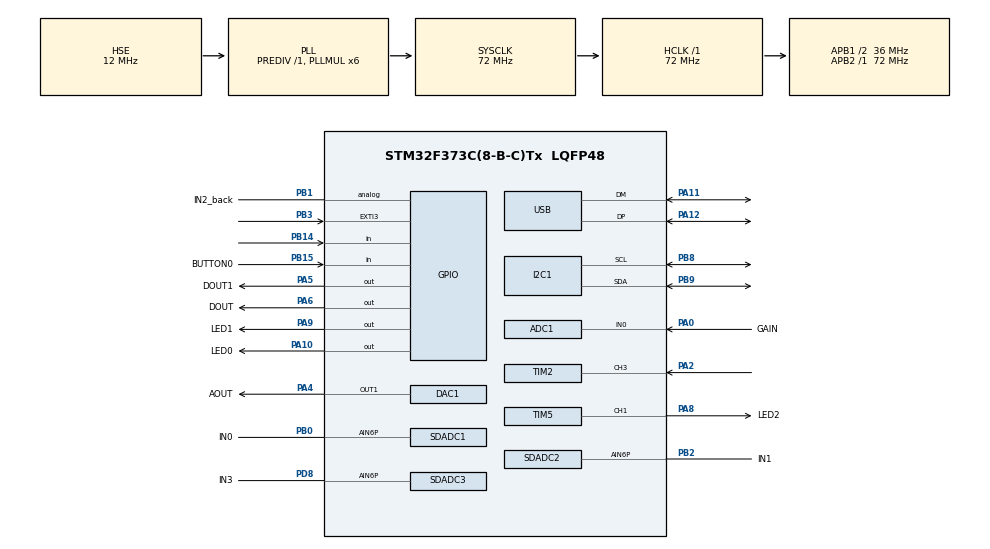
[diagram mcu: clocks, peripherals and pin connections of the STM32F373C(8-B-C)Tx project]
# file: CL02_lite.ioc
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ADC1.Channel-69\#ChannelRegularConversion=ADC_CHANNEL_0
ADC1.ContinuousConvMode=DISABLE
ADC1.DataAlign=ADC_DATAALIGN_RIGHT
ADC1.DiscontinuousConvMode=DISABLE
ADC1.EnableAnalogWatchDog=false
ADC1.EnableRegularConversion=ENABLE
ADC1.ExternalTrigConv=ADC_SOFTWARE_START
ADC1.InjNumberOfConversion=0
ADC1.NbrOfConversion=1
ADC1.NbrOfConversionFlag=1
ADC1.Rank-69\#ChannelRegularConversion=1
ADC1.SamplingTime-69\#ChannelRegularConversion=ADC_SAMPLETIME_1CYCLE_5
ADC1.ScanConvMode=ADC_SCAN_DISABLE
ADC1.master=1
Dma.Request0=SDADC1
Dma.Request1=SDADC2
Dma.Request2=SDADC3
Dma.SDADC1.0.Direction=DMA_PERIPH_TO_MEMORY
Dma.SDADC1.0.Instance=DMA2_Channel3
Dma.SDADC1.0.MemDataAlignment=DMA_MDATAALIGN_HALFWORD
Dma.SDADC1.0.MemInc=DMA_MINC_DISABLE
Dma.SDADC1.0.Mode=DMA_CIRCULAR
Dma.SDADC1.0.PeriphDataAlignment=DMA_PDATAALIGN_HALFWORD
Dma.SDADC1.0.PeriphInc=DMA_PINC_DISABLE
Dma.SDADC1.0.Priority=DMA_PRIORITY_VERY_HIGH
Dma.SDADC2.1.Direction=DMA_PERIPH_TO_MEMORY
Dma.SDADC2.1.Instance=DMA2_Channel4
Dma.SDADC2.1.MemDataAlignment=DMA_MDATAALIGN_HALFWORD
Dma.SDADC2.1.MemInc=DMA_MINC_DISABLE
Dma.SDADC2.1.Mode=DMA_CIRCULAR
Dma.SDADC2.1.PeriphDataAlignment=DMA_PDATAALIGN_HALFWORD
Dma.SDADC2.1.PeriphInc=DMA_PINC_DISABLE
Dma.SDADC2.1.Priority=DMA_PRIORITY_VERY_HIGH
Dma.SDADC3.2.Direction=DMA_PERIPH_TO_MEMORY
Dma.SDADC3.2.Instance=DMA2_Channel5
Dma.SDADC3.2.MemDataAlignment=DMA_MDATAALIGN_HALFWORD
Dma.SDADC3.2.MemInc=DMA_MINC_DISABLE
Dma.SDADC3.2.Mode=DMA_CIRCULAR
Dma.SDADC3.2.PeriphDataAlignment=DMA_PDATAALIGN_HALFWORD
Dma.SDADC3.2.PeriphInc=DMA_PINC_DISABLE
Dma.SDADC3.2.Priority=DMA_PRIORITY_VERY_HIGH
Mcu.Family=STM32F3
Mcu.Name=STM32F373C(8-B-C)Tx
Mcu.Package=LQFP48
NVIC.DMA2_Channel3_IRQn=true\:0\:0\:false\:false\:true\:false\:true\:true
NVIC.DMA2_Channel4_IRQn=true\:0\:0\:false\:false\:true\:false\:true\:true
NVIC.DMA2_Channel5_IRQn=true\:0\:0\:false\:false\:true\:false\:true\:true
NVIC.EXTI3_IRQn=true\:3\:0\:true\:false\:true\:true\:true\:true
NVIC.PriorityGroup=NVIC_PRIORITYGROUP_2
NVIC.TIM16_IRQn=true\:0\:0\:false\:false\:true\:true\:false\:true
NVIC.TIM17_IRQn=true\:0\:1\:false\:false\:true\:true\:false\:true
NVIC.TIM18_DAC2_IRQn=true\:1\:0\:true\:false\:true\:true\:false\:true
NVIC.USB_LP_IRQn=true\:0\:0\:false\:false\:true\:false\:true\:true
PA0.GPIO_Label=GAIN
PA0.Mode=IN0
PA0.Signal=ADC1_IN0
PA10.GPIO_Label=LED0
PA10.Signal=GPIO_Output
PA11.Mode=Device
PA11.Signal=USB_DM
PA12.Mode=Device
PA12.Signal=USB_DP
PA13.Mode=Serial_Wire
PA13.Signal=SYS_JTMS-SWDIO
PA14.Mode=Serial_Wire
PA14.Signal=SYS_JTCK-SWCLK
PA2.GPIO_Speed=GPIO_SPEED_FREQ_HIGH
PA2.Signal=S_TIM2_CH3
PA4.GPIO_Label=AOUT
PA4.Signal=COMP_DAC11_group
PA5.GPIO_Label=DOUT1
PA5.Signal=GPIO_Output
PA6.GPIO_Label=DOUT
PA6.Signal=GPIO_Output
PA8.GPIO_Label=LED2
PA8.Signal=S_TIM5_CH1_ETR
PA9.GPIO_Label=LED1
PA9.Signal=GPIO_Output
PB0.GPIO_Label=IN0
PB0.Mode=IN6-Single-Ended zero reference
PB0.Signal=SDADC1_AIN6P
PB1.GPIO_Label=IN2_back
PB1.Signal=GPIO_Analog
PB14.Signal=GPIO_Input
PB15.GPIO_Label=BUTTON0
PB15.Signal=GPIO_Input
PB2.GPIO_Label=IN1
PB2.Signal=SharedAnalog_PB2
PB3.GPIO_ModeDefaultEXTI=GPIO_MODE_IT_RISING_FALLING
PB3.GPIO_PuPd=GPIO_PULLDOWN
PB3.Signal=GPXTI3
PB4.Signal=USART2_RX
PB5.Signal=SPI1_MOSI
PB8.GPIO_Pu=GPIO_PULLUP
PB8.Mode=I2C
PB8.Signal=I2C1_SCL
PB9.GPIO_Pu=GPIO_PULLUP
PB9.Mode=I2C
PB9.Signal=I2C1_SDA
PD8.GPIO_Label=IN3
PD8.Mode=IN6-Single-Ended zero reference
PD8.Signal=SDADC3_AIN6P
PF0-OSC_IN.Mode=HSE-External-Oscillator
PF0-OSC_IN.Signal=RCC_OSC_IN
PF1-OSC_OUT.Mode=HSE-External-Oscillator
PF1-OSC_OUT.Signal=RCC_OSC_OUT
ProjectManager.HeapSize=0x600
ProjectManager.StackSize=0x600
ProjectManager.TargetToolchain=STM32CubeIDE
RCC.AHBFreq_Value=72000000
RCC.APB1CLKDivider=RCC_HCLK_DIV2
RCC.APB1Freq_Value=36000000
RCC.APB1TimFreq_Value=72000000
RCC.APB2Freq_Value=72000000
RCC.APB2TimFreq_Value=72000000
RCC.CortexFreq_Value=72000000
RCC.HCLKFreq_Value=72000000
RCC.HSE_VALUE=12000000
RCC.HSI_VALUE=8000000
RCC.LSE_VALUE=32768
RCC.PLLMUL=RCC_PLL_MUL6
RCC.PRESCALERUSB=RCC_USBCLKSOURCE_PLL_DIV1_5
RCC.SDADCPresc=RCC_SDADCSYSCLK_DIV12
RCC.SYSCLKFreq_VALUE=72000000
RCC.SYSCLKSource=RCC_SYSCLKSOURCE_PLLCLK
RCC.USBFreq_Value=48000000
SDADC1.CommonMode0=SDADC_COMMON_MODE_VSSA
SDADC1.ContinuousMode=SDADC_CONTINUOUS_CONV_ON
SDADC1.EnableInjectedConversion=DISABLE
SDADC1.EnableRegularconversion=ENABLE
SDADC1.FastConversionMode=SDADC_FAST_CONV_DISABLE
SDADC1.Gain0=SDADC_GAIN_1
SDADC1.IdleLowPowerMode=SDADC_LOWPOWER_NONE
SDADC1.InputMode0=SDADC_INPUT_MODE_SE_ZERO_REFERENCE
SDADC1.MultimodeType=__NULL
SDADC1.NbrOfConversionFlag=1
SDADC1.Offset0=0
SDADC1.ReferenceVoltage=SDADC_VREF_EXT
SDADC1.SlowClockMode=SDADC_SLOW_CLOCK_DISABLE
SDADC1.Trigger=SDADC_SOFTWARE_TRIGGER
SDADC2.CommonMode0=SDADC_COMMON_MODE_VSSA
SDADC2.ContinuousMode=SDADC_CONTINUOUS_CONV_ON
SDADC2.EnableInjectedConversion=DISABLE
SDADC2.EnableRegularconversion=ENABLE
SDADC2.FastConversionMode=SDADC_FAST_CONV_DISABLE
SDADC2.Gain0=SDADC_GAIN_1
SDADC2.IdleLowPowerMode=SDADC_LOWPOWER_NONE
SDADC2.InputMode0=SDADC_INPUT_MODE_SE_ZERO_REFERENCE
SDADC2.NbrOfConversionFlag=1
SDADC2.Offset0=0
SDADC2.ReferenceVoltage=SDADC_VREF_EXT
SDADC2.SlowClockMode=SDADC_SLOW_CLOCK_DISABLE
SDADC2.Trigger=SDADC_SOFTWARE_TRIGGER
SDADC3.Channel-0\#ChannelRegularConversion=SDADC_CHANNEL_6
SDADC3.ConfIndex-0\#ChannelRegularConversion=SDADC_CONF_INDEX_0
SDADC3.ContinuousMode=SDADC_CONTINUOUS_CONV_ON
SDADC3.EnableRegularconversion=ENABLE
SDADC3.InputMode0=SDADC_INPUT_MODE_SE_ZERO_REFERENCE
SDADC3.NbrOfConversionFlag=1
SH.COMP_DAC11_group.0=DAC1_OUT1,DAC_OUT1
SH.S_TIM2_CH3.0=TIM2_CH3,Input_Capture3_from_TI3
SH.S_TIM5_CH1_ETR.0=TIM5_CH1,PWM Generation1 CH1
SH.SharedAnalog_PB2.0=SDADC1_AIN4P
SH.SharedAnalog_PB2.1=SDADC2_AIN6P,IN6-Single-Ended zero reference
TIM16.Channel=TIM_CHANNEL_1
TIM16.Prescaler=7199
TIM17.Channel=TIM_CHANNEL_1
TIM17.Prescaler=7199
TIM18.AutoReloadPreload=TIM_AUTORELOAD_PRELOAD_ENABLE
TIM18.Period=999
TIM18.Prescaler=71
TIM2.AutoReloadPreload=TIM_AUTORELOAD_PRELOAD_ENABLE
TIM2.Channel-Input_Capture3_from_TI3=TIM_CHANNEL_3
TIM2.Period=9999
TIM2.Prescaler=7199
TIM5.AutoReloadPreload=TIM_AUTORELOAD_PRELOAD_ENABLE
TIM5.Channel-PWM\ Generation1\ CH1=TIM_CHANNEL_1
TIM5.Period=9999
TIM5.Prescaler=7199
TIM5.Pulse-PWM\ Generation1\ CH1=4999
USB_DEVICE.CLASS_NAME_FS=CDC
USB_DEVICE.MANUFACTURER_STRING=CereLoop
USB_DEVICE.PID_CDC_FS=22335
USB_DEVICE.PRODUCT_STRING_CDC_FS=CL02 Closed-loop System
USB_DEVICE.VirtualMode=Cdc
USB_DEVICE.VirtualModeFS=Cdc_FS
VP_SDADC1_CONF0.Mode=ConfigZero
VP_SDADC2_CONF0.Mode=ConfigZero
VP_SDADC3_CONF0.Mode=ConfigZero
VP_TIM16_VS_ClockSourceINT.Mode=Enable_Timer
VP_TIM16_VS_OPM.Mode=OPM_bit
VP_TIM16_VS_no_output1.Mode=Output Compare1 No Output
VP_TIM17_VS_ClockSourceINT.Mode=Enable_Timer
VP_TIM17_VS_OPM.Mode=OPM_bit
VP_TIM17_VS_no_output1.Mode=Output Compare1 No Output
VP_TIM18_VS_ClockSourceINT.Mode=Enable_Timer
VP_USB_DEVICE_VS_USB_DEVICE_CDC_FS.Mode=CDC_FS
board=CL04_Lite

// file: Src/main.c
/* USER CODE BEGIN Header */
/**
  ******************************************************************************
  * @file           : main.c
  * @brief          : Main program body
  ******************************************************************************
  * @attention
  *
  * Copyright (c) 2024 STMicroelectronics.
  * All rights reserved.
  *
  * This software is licensed under terms that can be found in the LICENSE file
  * in the root directory of this software component.
  * If no LICENSE file comes with this software, it is provided AS-IS.
  *
  ******************************************************************************
  */
/* USER CODE END Header */
#include "main.h"
#include "usb_device.h"

/* USER CODE BEGIN Includes */
#include "dataMGR.h"
#include "usbd_cdc.h"
#include "usbd_cdc_if.h"
#include "HD32_filter.h"
#include "CE32_USB_INTERCOM.h"
#include "CE32_Stimulator.h"
#include "CE32_ClosedLoop.h"
#define kFS 1000
#define FM_version 31
/* USER CODE END Includes */

ADC_HandleTypeDef hadc1;

DAC_HandleTypeDef hdac1;

I2C_HandleTypeDef hi2c1;

SDADC_HandleTypeDef hsdadc1;
SDADC_HandleTypeDef hsdadc2;
SDADC_HandleTypeDef hsdadc3;
DMA_HandleTypeDef hdma_sdadc1;
DMA_HandleTypeDef hdma_sdadc2;
DMA_HandleTypeDef hdma_sdadc3;

TIM_HandleTypeDef htim2;
TIM_HandleTypeDef htim5;
TIM_HandleTypeDef htim16;
TIM_HandleTypeDef htim17;
TIM_HandleTypeDef htim18;

/* USER CODE BEGIN PV */
/* Private variables ---------------------------------------------------------*/
int16_t adc_buf[2];
int16_t data_buf[BUF_SIZE/2];
dataMGR MGR;
CE32_systemParam 	sysParam;

CE32_dspParam    sysDSP[2];
CE32_Filter			 mainFil[2];
CE32_Filter   	 maFil[2];
CE32_StimControl sc[2];
CE32_CL					 cl;
const int trans_size=256;
uint16_t misc_DigiSig;
uint16_t test;
float dsp_gain=10;
extern HD32_filter_coeff filter_custom_coeff[2];

uint8_t TX_buf[8]; //TX buffer, with extra bytes as reserve
uint8_t TX_buf_state=0;

void (*arbitarCal_CH1)(uchar* ch_ord,short* data,float* output);
void (*arbitarCal_CH2)(uchar* ch_ord,short* data,float* output);

CE32_USB_INTERCOM_Handle IC_USB_handle;

CE32_stimulator STIM_handle[2];
/* USER CODE END PV */

void SystemClock_Config(void);
static void MX_GPIO_Init(void);
static void MX_DMA_Init(void);
static void MX_DAC1_Init(void);
static void MX_SDADC1_Init(void);
static void MX_SDADC2_Init(void);
static void MX_I2C1_Init(void);
static void MX_ADC1_Init(void);
static void MX_TIM2_Init(void);
static void MX_TIM18_Init(void);
static void MX_TIM16_Init(void);
static void MX_TIM17_Init(void);
static void MX_SDADC3_Init(void);
static void MX_TIM5_Init(void);
/* USER CODE BEGIN PFP */
/* Private function prototypes -----------------------------------------------*/
int CL02_CmdSvr(uint8_t *data_ptr,uint32_t cmd_len);
int CL02_sendDataPackage();
int CL02_purgeData();
int CL02_setClParam();
/* USER CODE END PFP */

int main(void)
{

  /* MCU Configuration--------------------------------------------------------*/

  /* Reset of all peripherals, Initializes the Flash interface and the Systick. */
  HAL_Init();

  /* USER CODE BEGIN Init */
	//Validate_ChipId();
  /* USER CODE END Init */

  /* Configure the system clock */
  SystemClock_Config();

  /* Initialize all configured peripherals */
  MX_GPIO_Init();
  MX_DMA_Init();
  MX_DAC1_Init();
  MX_SDADC1_Init();
  MX_SDADC2_Init();
  MX_USB_DEVICE_Init();
  MX_I2C1_Init();
  MX_ADC1_Init();
  MX_TIM2_Init();
  MX_TIM18_Init();
  MX_TIM16_Init();
  MX_TIM17_Init();
  MX_SDADC3_Init();
  MX_TIM5_Init();
  /* USER CODE BEGIN 2 */
	//HAL_TIM_Base_Start(&htim2);
	//HAL_TIM_PWM_Start(&htim2,TIM_CHANNEL_4);
	HAL_TIM_PWM_Start(&htim5,TIM_CHANNEL_1);

	dataMGR_init(&MGR,(char*) data_buf,sizeof(data_buf));					//FIFO setup
	sysParam.fs = kFS;
	sysParam.firm_version = FM_version;
	CE32_CL_Init(&cl,&sysParam,sysDSP,mainFil,maFil,sc); //Initialize Closed-loop unit
	CE32_CL_Start(&cl);

	HAL_SDADC_CalibrationStart(&hsdadc1,SDADC_CALIBRATION_SEQ_3);
	HAL_SDADC_CalibrationStart(&hsdadc2,SDADC_CALIBRATION_SEQ_3);
	HAL_SDADC_ConfigChannel(&hsdadc1,SDADC_CHANNEL_6,SDADC_CONTINUOUS_CONV_ON);
	HAL_SDADC_ConfigChannel(&hsdadc2,SDADC_CHANNEL_6,SDADC_CONTINUOUS_CONV_ON);
	//HAL_SDADC_Start_DMA(&hsdadc1,(uint32_t*)adc_buf,1);

	hsdadc1.Instance->CR1 |= SDADC_CR1_RDMAEN;
	HAL_DMA_Start_IT(hsdadc1.hdma, (uint32_t)&hsdadc1.Instance->RDATAR, (uint32_t) adc_buf, 1);
	hsdadc1.Instance->CR2 |= SDADC_CR2_RSWSTART;
	hsdadc2.Instance->CR1 |= SDADC_CR1_RDMAEN;
	HAL_DMA_Start_IT(hsdadc2.hdma, (uint32_t)&hsdadc2.Instance->RDATAR, (uint32_t) (adc_buf+1), 1);
	hsdadc2.Instance->CR2 |= SDADC_CR2_RSWSTART;

	//Stimulator initializing
	CE32_STIM_Init(&STIM_handle[0],&htim16,0,0);
	CE32_STIM_Init(&STIM_handle[1],&htim17,0,1);
	CE32_STIM_Setup(&STIM_handle[0],sysParam.stim_intensity[0],sysParam.stim_delay[0]+rand()*sysParam.stim_RndDelay[0],sysParam.stim_interval[0],sysParam.pulse_cnt[0],sysParam.pulse_width[0]);
	CE32_STIM_Setup(&STIM_handle[1],sysParam.stim_intensity[0],sysParam.stim_delay[0]+rand()*sysParam.stim_RndDelay[0],sysParam.stim_interval[0],sysParam.pulse_cnt[0],sysParam.pulse_width[0]);
	//CE32_STIM_Setup(&STIM_handle[1],sysParam.stim_intensity[1],sysParam.stim_delay[1]+rand()*sysParam.stim_RndDelay[1],sysParam.stim_interval[1],sysParam.pulse_cnt[1],sysParam.pulse_width[1]);

	HAL_DAC_Start(&hdac1,DAC_CHANNEL_1);
	//start ticking timer
	HAL_TIM_Base_Start_IT(&htim18);
  /* USER CODE END 2 */

  /* Infinite loop */
  while (1)
  {

    /* USER CODE BEGIN 3 */

		if(MGR.bufferUsed[0]>trans_size){
			if(MGR.sysState&MGR_SYS_PREVIEW){
				CL02_sendDataPackage();
			}
			else{
				CL02_purgeData();
			}
		}

		if(MGR.bufferUsed[0]>BUF_SIZE){
			CL02_purgeData();
		}

		uint8_t *data_ptr;
		uint32_t cmd_len;

		if(CE32_USB_INTERCOM_RX_DequeueCmd(&IC_USB_handle,&data_ptr,&cmd_len)==0)
		{
			CL02_CmdSvr(data_ptr,cmd_len);
		}
  }
  /* USER CODE END 3 */
}

void SystemClock_Config(void)
{
  RCC_OscInitTypeDef RCC_OscInitStruct = {0};
  RCC_ClkInitTypeDef RCC_ClkInitStruct = {0};
  RCC_PeriphCLKInitTypeDef PeriphClkInit = {0};

  /** Initializes the RCC Oscillators according to the specified parameters
  * in the RCC_OscInitTypeDef structure.
  */
  RCC_OscInitStruct.OscillatorType = RCC_OSCILLATORTYPE_HSI|RCC_OSCILLATORTYPE_HSE;
  RCC_OscInitStruct.HSEState = RCC_HSE_ON;
  RCC_OscInitStruct.HSEPredivValue = RCC_HSE_PREDIV_DIV1;
  RCC_OscInitStruct.HSIState = RCC_HSI_ON;
  RCC_OscInitStruct.HSICalibrationValue = RCC_HSICALIBRATION_DEFAULT;
  RCC_OscInitStruct.PLL.PLLState = RCC_PLL_ON;
  RCC_OscInitStruct.PLL.PLLSource = RCC_PLLSOURCE_HSE;
  RCC_OscInitStruct.PLL.PLLMUL = RCC_PLL_MUL6;
  if (HAL_RCC_OscConfig(&RCC_OscInitStruct) != HAL_OK)
  {
    Error_Handler();
  }

  /** Initializes the CPU, AHB and APB buses clocks
  */
  RCC_ClkInitStruct.ClockType = RCC_CLOCKTYPE_HCLK|RCC_CLOCKTYPE_SYSCLK
                              |RCC_CLOCKTYPE_PCLK1|RCC_CLOCKTYPE_PCLK2;
  RCC_ClkInitStruct.SYSCLKSource = RCC_SYSCLKSOURCE_PLLCLK;
  RCC_ClkInitStruct.AHBCLKDivider = RCC_SYSCLK_DIV1;
  RCC_ClkInitStruct.APB1CLKDivider = RCC_HCLK_DIV2;
  RCC_ClkInitStruct.APB2CLKDivider = RCC_HCLK_DIV1;

  if (HAL_RCC_ClockConfig(&RCC_ClkInitStruct, FLASH_LATENCY_2) != HAL_OK)
  {
    Error_Handler();
  }
  PeriphClkInit.PeriphClockSelection = RCC_PERIPHCLK_USB|RCC_PERIPHCLK_I2C1
                              |RCC_PERIPHCLK_ADC1|RCC_PERIPHCLK_SDADC;
  PeriphClkInit.I2c1ClockSelection = RCC_I2C1CLKSOURCE_HSI;
  PeriphClkInit.USBClockSelection = RCC_USBCLKSOURCE_PLL_DIV1_5;
  PeriphClkInit.SdadcClockSelection = RCC_SDADCSYSCLK_DIV12;
  PeriphClkInit.Adc1ClockSelection = RCC_ADC1PCLK2_DIV2;

  if (HAL_RCCEx_PeriphCLKConfig(&PeriphClkInit) != HAL_OK)
  {
    Error_Handler();
  }
  HAL_PWREx_EnableSDADC(PWR_SDADC_ANALOG1);
  HAL_PWREx_EnableSDADC(PWR_SDADC_ANALOG2);
  HAL_PWREx_EnableSDADC(PWR_SDADC_ANALOG3);
}

static void MX_ADC1_Init(void)
{

  ADC_ChannelConfTypeDef sConfig = {0};

  /** Common config
  */
  hadc1.Instance = ADC1;
  hadc1.Init.ScanConvMode = ADC_SCAN_DISABLE;
  hadc1.Init.ContinuousConvMode = DISABLE;
  hadc1.Init.DiscontinuousConvMode = DISABLE;
  hadc1.Init.ExternalTrigConv = ADC_SOFTWARE_START;
  hadc1.Init.DataAlign = ADC_DATAALIGN_RIGHT;
  hadc1.Init.NbrOfConversion = 1;
  if (HAL_ADC_Init(&hadc1) != HAL_OK)
  {
    Error_Handler();
  }

  /** Configure Regular Channel
  */
  sConfig.Channel = ADC_CHANNEL_0;
  sConfig.Rank = ADC_REGULAR_RANK_1;
  sConfig.SamplingTime = ADC_SAMPLETIME_1CYCLE_5;
  if (HAL_ADC_ConfigChannel(&hadc1, &sConfig) != HAL_OK)
  {
    Error_Handler();
  }

}

static void MX_DAC1_Init(void)
{

  DAC_ChannelConfTypeDef sConfig = {0};

  /** DAC Initialization
  */
  hdac1.Instance = DAC1;
  if (HAL_DAC_Init(&hdac1) != HAL_OK)
  {
    Error_Handler();
  }

  /** DAC channel OUT1 config
  */
  sConfig.DAC_Trigger = DAC_TRIGGER_NONE;
  sConfig.DAC_OutputBuffer = DAC_OUTPUTBUFFER_ENABLE;
  if (HAL_DAC_ConfigChannel(&hdac1, &sConfig, DAC_CHANNEL_1) != HAL_OK)
  {
    Error_Handler();
  }

}

static void MX_I2C1_Init(void)
{

  hi2c1.Instance = I2C1;
  hi2c1.Init.Timing = 0x2000090E;
  hi2c1.Init.OwnAddress1 = 0;
  hi2c1.Init.AddressingMode = I2C_ADDRESSINGMODE_7BIT;
  hi2c1.Init.DualAddressMode = I2C_DUALADDRESS_DISABLE;
  hi2c1.Init.OwnAddress2 = 0;
  hi2c1.Init.OwnAddress2Masks = I2C_OA2_NOMASK;
  hi2c1.Init.GeneralCallMode = I2C_GENERALCALL_DISABLE;
  hi2c1.Init.NoStretchMode = I2C_NOSTRETCH_DISABLE;
  if (HAL_I2C_Init(&hi2c1) != HAL_OK)
  {
    Error_Handler();
  }

  /** Configure Analogue filter
  */
  if (HAL_I2CEx_ConfigAnalogFilter(&hi2c1, I2C_ANALOGFILTER_ENABLE) != HAL_OK)
  {
    Error_Handler();
  }

  /** Configure Digital filter
  */
  if (HAL_I2CEx_ConfigDigitalFilter(&hi2c1, 0) != HAL_OK)
  {
    Error_Handler();
  }

}

static void MX_SDADC1_Init(void)
{

  SDADC_ConfParamTypeDef ConfParamStruct = {0};

  /** Configure the SDADC low power mode, fast conversion mode,
  slow clock mode and SDADC1 reference voltage
  */
  hsdadc1.Instance = SDADC1;
  hsdadc1.Init.IdleLowPowerMode = SDADC_LOWPOWER_NONE;
  hsdadc1.Init.FastConversionMode = SDADC_FAST_CONV_DISABLE;
  hsdadc1.Init.SlowClockMode = SDADC_SLOW_CLOCK_DISABLE;
  hsdadc1.Init.ReferenceVoltage = SDADC_VREF_EXT;
  if (HAL_SDADC_Init(&hsdadc1) != HAL_OK)
  {
    Error_Handler();
  }

  /** Configure The Regular Mode
  */
  if (HAL_SDADC_SelectRegularTrigger(&hsdadc1, SDADC_SOFTWARE_TRIGGER) != HAL_OK)
  {
    Error_Handler();
  }

  /** Set parameters for SDADC configuration 0 Register
  */
  ConfParamStruct.InputMode = SDADC_INPUT_MODE_SE_ZERO_REFERENCE;
  ConfParamStruct.Gain = SDADC_GAIN_1;
  ConfParamStruct.CommonMode = SDADC_COMMON_MODE_VSSA;
  ConfParamStruct.Offset = 0;
  if (HAL_SDADC_PrepareChannelConfig(&hsdadc1, SDADC_CONF_INDEX_0, &ConfParamStruct) != HAL_OK)
  {
    Error_Handler();
  }

}

static void MX_SDADC2_Init(void)
{

  SDADC_ConfParamTypeDef ConfParamStruct = {0};

  /** Configure the SDADC low power mode, fast conversion mode,
  slow clock mode and SDADC1 reference voltage
  */
  hsdadc2.Instance = SDADC2;
  hsdadc2.Init.IdleLowPowerMode = SDADC_LOWPOWER_NONE;
  hsdadc2.Init.FastConversionMode = SDADC_FAST_CONV_DISABLE;
  hsdadc2.Init.SlowClockMode = SDADC_SLOW_CLOCK_DISABLE;
  hsdadc2.Init.ReferenceVoltage = SDADC_VREF_EXT;
  if (HAL_SDADC_Init(&hsdadc2) != HAL_OK)
  {
    Error_Handler();
  }

  /** Configure The Regular Mode
  */
  if (HAL_SDADC_SelectRegularTrigger(&hsdadc2, SDADC_SOFTWARE_TRIGGER) != HAL_OK)
  {
    Error_Handler();
  }

  /** Set parameters for SDADC configuration 0 Register
  */
  ConfParamStruct.InputMode = SDADC_INPUT_MODE_SE_ZERO_REFERENCE;
  ConfParamStruct.Gain = SDADC_GAIN_1;
  ConfParamStruct.CommonMode = SDADC_COMMON_MODE_VSSA;
  ConfParamStruct.Offset = 0;
  if (HAL_SDADC_PrepareChannelConfig(&hsdadc2, SDADC_CONF_INDEX_0, &ConfParamStruct) != HAL_OK)
  {
    Error_Handler();
  }

}

static void MX_SDADC3_Init(void)
{

  SDADC_ConfParamTypeDef ConfParamStruct = {0};

  /** Configure the SDADC low power mode, fast conversion mode,
  slow clock mode and SDADC1 reference voltage
  */
  hsdadc3.Instance = SDADC3;
  hsdadc3.Init.IdleLowPowerMode = SDADC_LOWPOWER_NONE;
  hsdadc3.Init.FastConversionMode = SDADC_FAST_CONV_DISABLE;
  hsdadc3.Init.SlowClockMode = SDADC_SLOW_CLOCK_DISABLE;
  hsdadc3.Init.ReferenceVoltage = SDADC_VREF_EXT;
  if (HAL_SDADC_Init(&hsdadc3) != HAL_OK)
  {
    Error_Handler();
  }

  /** Configure The Regular Mode
  */
  if (HAL_SDADC_SelectRegularTrigger(&hsdadc3, SDADC_SOFTWARE_TRIGGER) != HAL_OK)
  {
    Error_Handler();
  }

  /** Set parameters for SDADC configuration 0 Register
  */
  ConfParamStruct.InputMode = SDADC_INPUT_MODE_SE_ZERO_REFERENCE;
  ConfParamStruct.Gain = SDADC_GAIN_1;
  ConfParamStruct.CommonMode = SDADC_COMMON_MODE_VSSA;
  ConfParamStruct.Offset = 0;
  if (HAL_SDADC_PrepareChannelConfig(&hsdadc3, SDADC_CONF_INDEX_0, &ConfParamStruct) != HAL_OK)
  {
    Error_Handler();
  }

  /** Configure the Regular Channel
  */
  if (HAL_SDADC_AssociateChannelConfig(&hsdadc3, SDADC_CHANNEL_6, SDADC_CONF_INDEX_0) != HAL_OK)
  {
    Error_Handler();
  }
  if (HAL_SDADC_ConfigChannel(&hsdadc3, SDADC_CHANNEL_6, SDADC_CONTINUOUS_CONV_ON) != HAL_OK)
  {
    Error_Handler();
  }

}

static void MX_TIM2_Init(void)
{

  TIM_MasterConfigTypeDef sMasterConfig = {0};
  TIM_IC_InitTypeDef sConfigIC = {0};

  htim2.Instance = TIM2;
  htim2.Init.Prescaler = 7199;
  htim2.Init.CounterMode = TIM_COUNTERMODE_UP;
  htim2.Init.Period = 9999;
  htim2.Init.ClockDivision = TIM_CLOCKDIVISION_DIV1;
  htim2.Init.AutoReloadPreload = TIM_AUTORELOAD_PRELOAD_ENABLE;
  if (HAL_TIM_IC_Init(&htim2) != HAL_OK)
  {
    Error_Handler();
  }
  sMasterConfig.MasterOutputTrigger = TIM_TRGO_RESET;
  sMasterConfig.MasterSlaveMode = TIM_MASTERSLAVEMODE_DISABLE;
  if (HAL_TIMEx_MasterConfigSynchronization(&htim2, &sMasterConfig) != HAL_OK)
  {
    Error_Handler();
  }
  sConfigIC.ICPolarity = TIM_INPUTCHANNELPOLARITY_RISING;
  sConfigIC.ICSelection = TIM_ICSELECTION_DIRECTTI;
  sConfigIC.ICPrescaler = TIM_ICPSC_DIV1;
  sConfigIC.ICFilter = 0;
  if (HAL_TIM_IC_ConfigChannel(&htim2, &sConfigIC, TIM_CHANNEL_3) != HAL_OK)
  {
    Error_Handler();
  }

}

static void MX_TIM5_Init(void)
{

  TIM_MasterConfigTypeDef sMasterConfig = {0};
  TIM_OC_InitTypeDef sConfigOC = {0};

  htim5.Instance = TIM5;
  htim5.Init.Prescaler = 7199;
  htim5.Init.CounterMode = TIM_COUNTERMODE_UP;
  htim5.Init.Period = 9999;
  htim5.Init.ClockDivision = TIM_CLOCKDIVISION_DIV1;
  htim5.Init.AutoReloadPreload = TIM_AUTORELOAD_PRELOAD_ENABLE;
  if (HAL_TIM_PWM_Init(&htim5) != HAL_OK)
  {
    Error_Handler();
  }
  sMasterConfig.MasterOutputTrigger = TIM_TRGO_RESET;
  sMasterConfig.MasterSlaveMode = TIM_MASTERSLAVEMODE_DISABLE;
  if (HAL_TIMEx_MasterConfigSynchronization(&htim5, &sMasterConfig) != HAL_OK)
  {
    Error_Handler();
  }
  sConfigOC.OCMode = TIM_OCMODE_PWM1;
  sConfigOC.Pulse = 4999;
  sConfigOC.OCPolarity = TIM_OCPOLARITY_HIGH;
  sConfigOC.OCFastMode = TIM_OCFAST_DISABLE;
  if (HAL_TIM_PWM_ConfigChannel(&htim5, &sConfigOC, TIM_CHANNEL_1) != HAL_OK)
  {
    Error_Handler();
  }
  HAL_TIM_MspPostInit(&htim5);

}

static void MX_TIM16_Init(void)
{

  TIM_OC_InitTypeDef sConfigOC = {0};
  TIM_BreakDeadTimeConfigTypeDef sBreakDeadTimeConfig = {0};

  htim16.Instance = TIM16;
  htim16.Init.Prescaler = 7199;
  htim16.Init.CounterMode = TIM_COUNTERMODE_UP;
  htim16.Init.Period = 65535;
  htim16.Init.ClockDivision = TIM_CLOCKDIVISION_DIV1;
  htim16.Init.RepetitionCounter = 0;
  htim16.Init.AutoReloadPreload = TIM_AUTORELOAD_PRELOAD_DISABLE;
  if (HAL_TIM_Base_Init(&htim16) != HAL_OK)
  {
    Error_Handler();
  }
  if (HAL_TIM_OC_Init(&htim16) != HAL_OK)
  {
    Error_Handler();
  }
  if (HAL_TIM_OnePulse_Init(&htim16, TIM_OPMODE_SINGLE) != HAL_OK)
  {
    Error_Handler();
  }
  sConfigOC.OCMode = TIM_OCMODE_TIMING;
  sConfigOC.Pulse = 0;
  sConfigOC.OCPolarity = TIM_OCPOLARITY_HIGH;
  sConfigOC.OCNPolarity = TIM_OCNPOLARITY_HIGH;
  sConfigOC.OCFastMode = TIM_OCFAST_DISABLE;
  sConfigOC.OCIdleState = TIM_OCIDLESTATE_RESET;
  sConfigOC.OCNIdleState = TIM_OCNIDLESTATE_RESET;
  if (HAL_TIM_OC_ConfigChannel(&htim16, &sConfigOC, TIM_CHANNEL_1) != HAL_OK)
  {
    Error_Handler();
  }
  sBreakDeadTimeConfig.OffStateRunMode = TIM_OSSR_DISABLE;
  sBreakDeadTimeConfig.OffStateIDLEMode = TIM_OSSI_DISABLE;
  sBreakDeadTimeConfig.LockLevel = TIM_LOCKLEVEL_OFF;
  sBreakDeadTimeConfig.DeadTime = 0;
  sBreakDeadTimeConfig.BreakState = TIM_BREAK_DISABLE;
  sBreakDeadTimeConfig.BreakPolarity = TIM_BREAKPOLARITY_HIGH;
  sBreakDeadTimeConfig.AutomaticOutput = TIM_AUTOMATICOUTPUT_DISABLE;
  if (HAL_TIMEx_ConfigBreakDeadTime(&htim16, &sBreakDeadTimeConfig) != HAL_OK)
  {
    Error_Handler();
  }

}

static void MX_TIM17_Init(void)
{

  TIM_OC_InitTypeDef sConfigOC = {0};
  TIM_BreakDeadTimeConfigTypeDef sBreakDeadTimeConfig = {0};

  htim17.Instance = TIM17;
  htim17.Init.Prescaler = 7199;
  htim17.Init.CounterMode = TIM_COUNTERMODE_UP;
  htim17.Init.Period = 65535;
  htim17.Init.ClockDivision = TIM_CLOCKDIVISION_DIV1;
  htim17.Init.RepetitionCounter = 0;
  htim17.Init.AutoReloadPreload = TIM_AUTORELOAD_PRELOAD_DISABLE;
  if (HAL_TIM_Base_Init(&htim17) != HAL_OK)
  {
    Error_Handler();
  }
  if (HAL_TIM_OC_Init(&htim17) != HAL_OK)
  {
    Error_Handler();
  }
  if (HAL_TIM_OnePulse_Init(&htim17, TIM_OPMODE_SINGLE) != HAL_OK)
  {
    Error_Handler();
  }
  sConfigOC.OCMode = TIM_OCMODE_TIMING;
  sConfigOC.Pulse = 0;
  sConfigOC.OCPolarity = TIM_OCPOLARITY_HIGH;
  sConfigOC.OCNPolarity = TIM_OCNPOLARITY_HIGH;
  sConfigOC.OCFastMode = TIM_OCFAST_DISABLE;
  sConfigOC.OCIdleState = TIM_OCIDLESTATE_RESET;
  sConfigOC.OCNIdleState = TIM_OCNIDLESTATE_RESET;
  if (HAL_TIM_OC_ConfigChannel(&htim17, &sConfigOC, TIM_CHANNEL_1) != HAL_OK)
  {
    Error_Handler();
  }
  sBreakDeadTimeConfig.OffStateRunMode = TIM_OSSR_DISABLE;
  sBreakDeadTimeConfig.OffStateIDLEMode = TIM_OSSI_DISABLE;
  sBreakDeadTimeConfig.LockLevel = TIM_LOCKLEVEL_OFF;
  sBreakDeadTimeConfig.DeadTime = 0;
  sBreakDeadTimeConfig.BreakState = TIM_BREAK_DISABLE;
  sBreakDeadTimeConfig.BreakPolarity = TIM_BREAKPOLARITY_HIGH;
  sBreakDeadTimeConfig.AutomaticOutput = TIM_AUTOMATICOUTPUT_DISABLE;
  if (HAL_TIMEx_ConfigBreakDeadTime(&htim17, &sBreakDeadTimeConfig) != HAL_OK)
  {
    Error_Handler();
  }

}

static void MX_TIM18_Init(void)
{

  TIM_MasterConfigTypeDef sMasterConfig = {0};

  htim18.Instance = TIM18;
  htim18.Init.Prescaler = 71;
  htim18.Init.CounterMode = TIM_COUNTERMODE_UP;
  htim18.Init.Period = 999;
  htim18.Init.AutoReloadPreload = TIM_AUTORELOAD_PRELOAD_ENABLE;
  if (HAL_TIM_Base_Init(&htim18) != HAL_OK)
  {
    Error_Handler();
  }
  sMasterConfig.MasterOutputTrigger = TIM_TRGO_RESET;
  sMasterConfig.MasterSlaveMode = TIM_MASTERSLAVEMODE_DISABLE;
  if (HAL_TIMEx_MasterConfigSynchronization(&htim18, &sMasterConfig) != HAL_OK)
  {
    Error_Handler();
  }

}

static void MX_DMA_Init(void)
{

  /* DMA controller clock enable */
  __HAL_RCC_DMA2_CLK_ENABLE();

  /* DMA interrupt init */
  /* DMA2_Channel3_IRQn interrupt configuration */
  HAL_NVIC_SetPriority(DMA2_Channel3_IRQn, 0, 0);
  HAL_NVIC_EnableIRQ(DMA2_Channel3_IRQn);
  /* DMA2_Channel4_IRQn interrupt configuration */
  HAL_NVIC_SetPriority(DMA2_Channel4_IRQn, 0, 0);
  HAL_NVIC_EnableIRQ(DMA2_Channel4_IRQn);
  /* DMA2_Channel5_IRQn interrupt configuration */
  HAL_NVIC_SetPriority(DMA2_Channel5_IRQn, 0, 0);
  HAL_NVIC_EnableIRQ(DMA2_Channel5_IRQn);

}

static void MX_GPIO_Init(void)
{
  GPIO_InitTypeDef GPIO_InitStruct = {0};

  /* GPIO Ports Clock Enable */
  __HAL_RCC_GPIOF_CLK_ENABLE();
  __HAL_RCC_GPIOA_CLK_ENABLE();
  __HAL_RCC_GPIOB_CLK_ENABLE();
  __HAL_RCC_GPIOD_CLK_ENABLE();

  /*Configure GPIO pin Output Level */
  HAL_GPIO_WritePin(GPIOA, DOUT1_Pin|DOUT_Pin|LED1_Pin|LED0_Pin, GPIO_PIN_RESET);

  /*Configure GPIO pins : DOUT1_Pin DOUT_Pin LED1_Pin LED0_Pin */
  GPIO_InitStruct.Pin = DOUT1_Pin|DOUT_Pin|LED1_Pin|LED0_Pin;
  GPIO_InitStruct.Mode = GPIO_MODE_OUTPUT_PP;
  GPIO_InitStruct.Pull = GPIO_NOPULL;
  GPIO_InitStruct.Speed = GPIO_SPEED_FREQ_LOW;
  HAL_GPIO_Init(GPIOA, &GPIO_InitStruct);

  /*Configure GPIO pin : IN2_back_Pin */
  GPIO_InitStruct.Pin = IN2_back_Pin;
  GPIO_InitStruct.Mode = GPIO_MODE_ANALOG;
  GPIO_InitStruct.Pull = GPIO_NOPULL;
  HAL_GPIO_Init(IN2_back_GPIO_Port, &GPIO_InitStruct);

  /*Configure GPIO pins : PB14 BUTTON0_Pin */
  GPIO_InitStruct.Pin = GPIO_PIN_14|BUTTON0_Pin;
  GPIO_InitStruct.Mode = GPIO_MODE_INPUT;
  GPIO_InitStruct.Pull = GPIO_NOPULL;
  HAL_GPIO_Init(GPIOB, &GPIO_InitStruct);

  /*Configure GPIO pin : PB3 */
  GPIO_InitStruct.Pin = GPIO_PIN_3;
  GPIO_InitStruct.Mode = GPIO_MODE_IT_RISING_FALLING;
  GPIO_InitStruct.Pull = GPIO_PULLDOWN;
  HAL_GPIO_Init(GPIOB, &GPIO_InitStruct);

  /*Configure GPIO pin : PB4 */
  GPIO_InitStruct.Pin = GPIO_PIN_4;
  GPIO_InitStruct.Mode = GPIO_MODE_AF_PP;
  GPIO_InitStruct.Pull = GPIO_NOPULL;
  GPIO_InitStruct.Speed = GPIO_SPEED_FREQ_HIGH;
  GPIO_InitStruct.Alternate = GPIO_AF7_USART2;
  HAL_GPIO_Init(GPIOB, &GPIO_InitStruct);

  /*Configure GPIO pin : PB5 */
  GPIO_InitStruct.Pin = GPIO_PIN_5;
  GPIO_InitStruct.Mode = GPIO_MODE_AF_PP;
  GPIO_InitStruct.Pull = GPIO_NOPULL;
  GPIO_InitStruct.Speed = GPIO_SPEED_FREQ_HIGH;
  GPIO_InitStruct.Alternate = GPIO_AF5_SPI1;
  HAL_GPIO_Init(GPIOB, &GPIO_InitStruct);

  /* EXTI interrupt init*/
  HAL_NVIC_SetPriority(EXTI3_IRQn, 3, 0);
  HAL_NVIC_EnableIRQ(EXTI3_IRQn);

}

/* USER CODE BEGIN 4 */

int CL02_CmdSvr(uint8_t *data_ptr,uint32_t cmd_len)
{
	/*CMD ID:

		0x01.	update SYS
		0x02.	update DSP1

		0x10. Threshold setting(std.)
		0x11. state control (stimulation/closed loop)
		0x14. Threshold setting(abs.)

		0x20. stimulation timing control
		0x21. DSP setting

		0x40. Start Preview
		0x41. Stop Preview

		*/
	switch(data_ptr[0])
	{
		case 0x01:
			memcpy(((uint8_t*)&sysParam),&data_ptr[1],CE32_SYSPARAM_WR_LEN);

			CE32_CL_Init(&cl,&sysParam,sysDSP,mainFil,maFil,sc); //Initialize Closed-loop unit
			CE32_STIM_Setup(&STIM_handle[0],sysParam.stim_intensity[0],sysParam.stim_delay[0]+rand()*sysParam.stim_RndDelay[0],sysParam.stim_interval[0],sysParam.pulse_cnt[0],sysParam.pulse_width[0]);

			//DF_StimControl_Setting(&sc[0],sysParam.fs,sysParam.trigger_trainStart,sysParam.trigger_trainDuration,sysParam.pulse_width[0],sysParam.stim_interval[0],sysParam.stim_delay[0],sysParam.stim_RndDelay[0],sysParam.trigger_gain[0]);
			//DF_StimControl_Setting(&sc[1],sysParam.fs,sysParam.trigger_trainStart,sysParam.trigger_trainDuration,sysParam.pulse_width[1],sysParam.stim_interval[1],sysParam.stim_delay[1],sysParam.stim_RndDelay[1],sysParam.trigger_gain[1]);
			CE32_CL_Start(&cl);
			CL02_setClParam();
			break;
		case 0x02:
			memcpy(&sysDSP[0],&data_ptr[1],512);
			//CE32_arbitar_Init(&arbitarCal_CH1,&sysDSP[0]);			//Init pointer for signal arbitar
			CE32_CL_Init(&cl,&sysParam,sysDSP,mainFil,maFil,sc); //Initialize Closed-loop unit
			CE32_CL_Start(&cl);
			break;
		case 0x06: //Load custom filter
		{
			uint8_t id = *(uint8_t*)&data_ptr[1]; //index of custom filter
			uint8_t type=*(uint8_t*)&data_ptr[2]; //first data is uint8,type(01=DF1,02=SOS)
			uint16_t ord=*(uint16_t*)&data_ptr[3]; //2nd data is uint16
			filter_custom_coeff[id].ord=ord;
			int* ptr=(int*)&data_ptr[5];
			memcpy(&filter_custom_coeff[id].NL,ptr,ord*sizeof(int));
			float* fptr=(float*)&data_ptr[5+ord*sizeof(int)];
			memcpy(&filter_custom_coeff[id].Num,&fptr[0],3*ord*sizeof(float));
			memcpy(&filter_custom_coeff[id].Den,&fptr[3*ord],3*ord*sizeof(float));
//			sysDSP[id].func1=CE32_FILTER_CUSTOM;
//			CE32_CL_Init(&cl,&sysParam,sysDSP,mainFil,maFil,sc); //Initialize Closed-loop unit
//			CE32_CL_Start(&cl);
			break;
		}
		case 0x10://Gain setting realtime
		{
			float v;
			uint8_t *ptr;
			uint8_t id = data_ptr[1];
			ptr=(uint8_t*)&v;
			for(int i=0;i<4;i++){
				*(ptr+i)=data_ptr[i+2];
			}
			sc[id].Trig_gain=v;
			sc[id].Trig_level=sc[id].Trig_gain*sc[id].Trig_mean;
			break;
		}
		case 0x11://STIM on/off
		{
			if(data_ptr[1]==0){
				//sc->Trig_state=~SC_STATE_ON;
				sysParam.stim_mode=0;
				CE32_STIM_DISABLE(&STIM_handle[0]);
			}
			else{
				//sc->Trig_state|=SC_STATE_ON;
				sysParam.stim_mode=1;
				CE32_STIM_ENABLE(&STIM_handle[0]);
			}
				break;
		}
		case 0x12: //Trig mode
		{
			if(data_ptr[1]==0){
				cl.trig_mode = 0;
				STIM_handle[0].trig_mode = 0;
				STIM_handle[1].trig_mode = 0;
			}
			else
			{
				cl.trig_mode = 1;
				STIM_handle[0].trig_mode = 1;
				STIM_handle[1].trig_mode = 1;
			}
			break;
		}
		case 0x14:
		{
			float v;
			uint8_t *ptr;
			uint8_t id = data_ptr[1];
			ptr=(uint8_t*)&v;
			for(int i=0;i<4;i++){
				*(ptr+i)=data_ptr[i+2];
			}
			sc[id].Trig_level=v;
			break;
		}
		case 0x15: //set cl params
		{
			memcpy(sysParam.cl_param1,&data_ptr[1],sizeof(sysParam.cl_param1));
			memcpy(sysParam.cl_param2,&data_ptr[1]+sizeof(sysParam.cl_param1),sizeof(sysParam.cl_param2));
			break;
		}
		case 0x20:
		{
			uint32_t* ptr=(uint32_t*)(&data_ptr[2]);
			uint8_t id=data_ptr[1];
			STIM_handle[id].delay=ptr[0];
			STIM_handle[id].random_delay=ptr[1];
			STIM_handle[id].duration=ptr[2];
			STIM_handle[id].interval=ptr[3];
			STIM_handle[id].cycle=ptr[4];
			break;
		}
		case 0x21:
		{
			uint32_t * ptr=(uint32_t*)(&data_ptr[2]);
			uint8_t id=data_ptr[1];
			sysDSP[id].MAOrd=ptr[0];
			sysDSP[id].func1=ptr[1];
			sysDSP[id].formula=ptr[2];
			CE32_InitFilter(&mainFil[id],&maFil[id],&sysDSP[id]);
			cl.rectifier[id] = (sysDSP[id].func1==CE32_FILTER_DELTA)?0:1;
			break;
		}
		case 0x40:
		{
			MGR.sysState|=MGR_SYS_PREVIEW;
			break;
		}
		case 0x41:
		{
			MGR.sysState=~MGR_SYS_PREVIEW;
			break;
		}
		case 0x60:
		{
			uint32_t* ptr=(uint32_t*)(&data_ptr[1]);
			dsp_gain=ptr[0]/10;
			break;
		}
		case 0x83:
		{
			CE32_STIM_Trig(&STIM_handle[0]);
			break;
		}
	}
	return 0;
}

void CE32_CL_TrigAct(int id) //Triggers when Closed-loop detect a event
{
	CE32_STIM_Trig(&STIM_handle[id]);
}

void CE32_CL_TrigStopAct(int id) //Triggers when Closed-loop detect a event
{
	CE32_STIM_Abort(&STIM_handle[id]);
}

void CE32_CL_WaitAct(int id)
{
	if(id==0)
	{
		htim5.Instance->ARR=9999;
		htim5.Instance->CCR4=4999;
		HAL_TIM_PWM_Start(&htim5,TIM_CHANNEL_1);
		misc_DigiSig|=MISC_SIG_DSP_WAIT;
		misc_DigiSig&=~(MISC_SIG_DSP_CAL|MISC_SIG_DSP_READY);
	}
}

void CE32_CL_TrainAct(int id) //Triggers when traning starting
{
	if(id==0)
	{
		htim5.Instance->ARR=4999;
		htim5.Instance->CCR4=2499;
		misc_DigiSig|=MISC_SIG_DSP_CAL;
		misc_DigiSig&=~(MISC_SIG_DSP_WAIT|MISC_SIG_DSP_READY);
	}
}

void CE32_CL_ReadyAct(int id) //Triggers when traning is done
{
	if(id==0)
	{
		htim5.Instance->ARR=4999;
		htim5.Instance->CCR4=4999;
		misc_DigiSig|=MISC_SIG_DSP_READY;
		misc_DigiSig&=~(MISC_SIG_DSP_CAL|MISC_SIG_DSP_WAIT);
	}
}

void CE32_CL_TrigInitAct(int id)
{
	MX_TIM16_Init();
	MX_TIM17_Init();
	CE32_STIM_StimOffAct(&STIM_handle[0]);
	CE32_STIM_StimOffAct(&STIM_handle[1]);
	CE32_STIM_Init(&STIM_handle[0],&htim16,0,0);
	CE32_STIM_Init(&STIM_handle[1],&htim17,0,1);
	CE32_STIM_Setup(&STIM_handle[0],sysParam.stim_intensity[0],sysParam.stim_delay[0]+rand()*sysParam.stim_RndDelay[0],sysParam.stim_interval[0],sysParam.pulse_cnt[0],sysParam.pulse_width[0]);
	CE32_STIM_Setup(&STIM_handle[1],sysParam.stim_intensity[1],sysParam.stim_delay[1]+rand()*sysParam.stim_RndDelay[1],sysParam.stim_interval[1],sysParam.pulse_cnt[1],sysParam.pulse_width[1]);

}

void CE32_STIM_TrigAct(CE32_stimulator* handle)//Trigger Onset action, Define this action in IT
{
	PIN_SET(LED1);
	PIN_SET(DOUT1);
	switch(handle->id){
		case 0:
			misc_DigiSig|=MISC_SIG_TRIG1;
			break;
		case 1:
			misc_DigiSig|=MISC_SIG_TRIG2;
			break;
	}
}
void CE32_STIM_StimAct(CE32_stimulator* handle)//Stimulation Onset action, Define this action in IT
{
	if(sysParam.stim_mode ==1)
	{
		PIN_SET(LED0);
		switch(handle->id){
			case 0:
				misc_DigiSig|=MISC_SIG_STIM1;
				PIN_SET(DOUT);
				break;
			case 1:
				misc_DigiSig|=MISC_SIG_STIM2;
				PIN_SET(DOUT);
				break;
		}
	}
}

void CE32_STIM_TrigStopAct(CE32_stimulator* handle)
{
	PIN_RESET(LED1);
	PIN_RESET(DOUT1);
	switch(handle->id){
		case 0:
			misc_DigiSig&=~(MISC_SIG_TRIG1);
			break;
		case 1:
			misc_DigiSig&=~(MISC_SIG_TRIG2);
			break;
	}
}

void CE32_STIM_StimOffAct(CE32_stimulator* handle)
{
	PIN_RESET(LED0);
	switch(handle->id){
		case 0:
			PIN_RESET(DOUT);
			misc_DigiSig&=~MISC_SIG_STIM1;
			break;
		case 1:
			PIN_RESET(DOUT);
			misc_DigiSig&=~MISC_SIG_STIM2;
			break;
	}
}

void CE32_STIM_StimStopAct(CE32_stimulator* handle)
{
	PIN_RESET(LED0);
	switch(handle->id){
		case 0:
			PIN_RESET(DOUT);
			misc_DigiSig&=~MISC_SIG_STIM1;
			break;
		case 1:
			PIN_RESET(DOUT);
			misc_DigiSig&=~MISC_SIG_STIM2;
			break;
	}
}

void CE32_STIM_StimAbortAct(CE32_stimulator* handle)
{
	PIN_RESET(LED0);
	PIN_RESET(LED1);
	misc_DigiSig&=~(MISC_SIG_TRIG1|MISC_SIG_STIM1|MISC_SIG_TRIG2|MISC_SIG_STIM2);
}

int CL02_sendDataPackage(){
	switch(TX_buf_state){
		case 0:	{ //Send header
			TX_buf[0]=0x3c;
			TX_buf[1]=0xAD;

			float temp=cl.sc[0]->Trig_level;
			temp=temp>INT16_MAX?INT16_MAX:temp;			//Make sure temp is not saturated
			temp=temp<INT16_MIN?INT16_MIN:temp;			//Make sure temp is not saturated
			*((int16_t*)&TX_buf[2])=temp;
			temp=cl.sc[1]->Trig_level;
			temp=temp>INT16_MAX?INT16_MAX:temp;			//Make sure temp is not saturated
			temp=temp<INT16_MIN?INT16_MIN:temp;			//Make sure temp is not saturated
			*((int16_t*)&TX_buf[4])=temp;
			if(CDC_Transmit_FS(TX_buf,6)==USBD_OK){
				TX_buf_state=1;
			}
			break;
		}
		case 1:{ //Send package
			if(CDC_Transmit_FS(((uint8_t*)data_buf)+MGR.outPTR[0],trans_size)==USBD_OK){
				TX_buf_state=2;
				dataMGR_deQueue(&MGR,trans_size,0);
			}
			break;
		}
		case 2:{//Send tail
			uint8_t TX_tail = 0x3e;
			if(CDC_Transmit_FS(&TX_tail,1)==USBD_OK){
				TX_buf_state=0;
			}
			break;
		}
	}
}

int CL02_purgeData(){
	dataMGR_deQueue(&MGR,trans_size,0);
	TX_buf_state=0;
}

int CL02_setClParam()
{
	if(sysParam.stim_mode==0){
		CE32_STIM_DISABLE(&STIM_handle[0]);
		CE32_STIM_DISABLE(&STIM_handle[1]);
	}
	else{
		CE32_STIM_ENABLE(&STIM_handle[0]);
		CE32_STIM_ENABLE(&STIM_handle[1]);
	}
}

/* USER CODE END 4 */

void Error_Handler(void)
{
  while(1)
  {
  }
}
